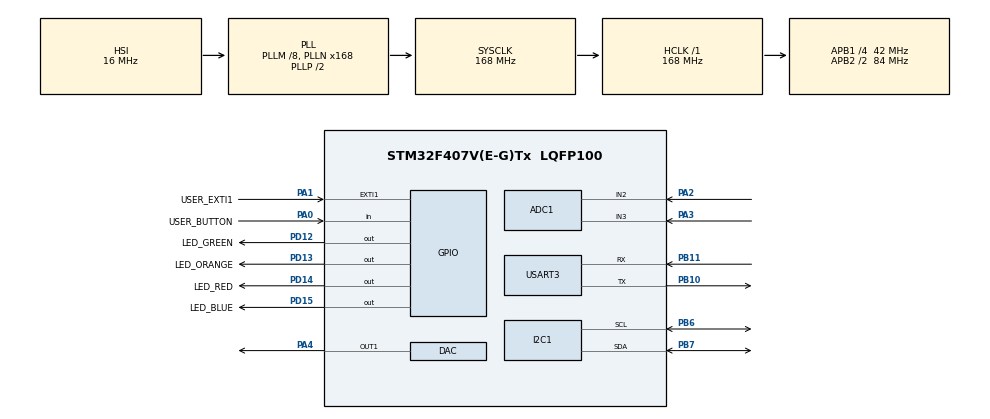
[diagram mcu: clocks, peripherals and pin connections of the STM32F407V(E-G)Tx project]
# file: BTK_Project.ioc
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ADC1.Channel-0\#ChannelRegularConversion=ADC_CHANNEL_2
ADC1.Channel-1\#ChannelRegularConversion=ADC_CHANNEL_3
ADC1.Channel-2\#ChannelRegularConversion=ADC_CHANNEL_TEMPSENSOR
ADC1.Channel-3\#ChannelRegularConversion=ADC_CHANNEL_VREFINT
ADC1.Channel-4\#ChannelRegularConversion=ADC_CHANNEL_VBAT
ADC1.ContinuousConvMode=ENABLE
ADC1.DMAContinuousRequests=ENABLE
ADC1.EOCSelection=ADC_EOC_SEQ_CONV
ADC1.NbrOfConversion=5
ADC1.NbrOfConversionFlag=1
ADC1.Rank-0\#ChannelRegularConversion=1
ADC1.Rank-1\#ChannelRegularConversion=2
ADC1.Rank-2\#ChannelRegularConversion=3
ADC1.Rank-3\#ChannelRegularConversion=4
ADC1.Rank-4\#ChannelRegularConversion=5
ADC1.SamplingTime-0\#ChannelRegularConversion=ADC_SAMPLETIME_56CYCLES
ADC1.SamplingTime-1\#ChannelRegularConversion=ADC_SAMPLETIME_56CYCLES
ADC1.SamplingTime-2\#ChannelRegularConversion=ADC_SAMPLETIME_480CYCLES
ADC1.SamplingTime-3\#ChannelRegularConversion=ADC_SAMPLETIME_480CYCLES
ADC1.SamplingTime-4\#ChannelRegularConversion=ADC_SAMPLETIME_480CYCLES
ADC1.ScanConvMode=ENABLE
ADC1.master=1
Dma.ADC1.0.Direction=DMA_PERIPH_TO_MEMORY
Dma.ADC1.0.FIFOMode=DMA_FIFOMODE_DISABLE
Dma.ADC1.0.Instance=DMA2_Stream0
Dma.ADC1.0.MemDataAlignment=DMA_MDATAALIGN_HALFWORD
Dma.ADC1.0.MemInc=DMA_MINC_ENABLE
Dma.ADC1.0.Mode=DMA_CIRCULAR
Dma.ADC1.0.PeriphDataAlignment=DMA_PDATAALIGN_HALFWORD
Dma.ADC1.0.PeriphInc=DMA_PINC_DISABLE
Dma.ADC1.0.Priority=DMA_PRIORITY_LOW
Dma.Request0=ADC1
Mcu.Family=STM32F4
Mcu.Name=STM32F407V(E-G)Tx
Mcu.Package=LQFP100
NVIC.DMA2_Stream0_IRQn=true\:0\:0\:false\:false\:true\:false\:true\:true
NVIC.EXTI1_IRQn=true\:0\:0\:false\:false\:true\:true\:true\:true
NVIC.PriorityGroup=NVIC_PRIORITYGROUP_4
NVIC.TIM8_TRG_COM_TIM14_IRQn=true\:0\:0\:false\:false\:true\:true\:true\:true
NVIC.USART3_IRQn=true\:0\:0\:false\:false\:true\:true\:true\:true
PA0-WKUP.GPIO_Label=USER_BUTTON
PA0-WKUP.Signal=GPIO_Input
PA1.GPIO_Label=USER_EXTI1
PA1.Signal=GPXTI1
PA2.Signal=ADCx_IN2
PA3.Signal=ADCx_IN3
PA4.Signal=COMP_DAC1_group
PB10.Mode=Asynchronous
PB10.Signal=USART3_TX
PB11.Mode=Asynchronous
PB11.Signal=USART3_RX
PB6.Mode=I2C
PB6.Signal=I2C1_SCL
PB7.Mode=I2C
PB7.Signal=I2C1_SDA
PD12.GPIO_Label=LED_GREEN
PD12.Signal=GPIO_Output
PD13.GPIO_Label=LED_ORANGE
PD13.Signal=GPIO_Output
PD14.GPIO_Label=LED_RED
PD14.Signal=GPIO_Output
PD15.GPIO_Label=LED_BLUE
PD15.Signal=GPIO_Output
PH0-OSC_IN.Mode=HSE-External-Oscillator
PH0-OSC_IN.Signal=RCC_OSC_IN
PH1-OSC_OUT.Mode=HSE-External-Oscillator
PH1-OSC_OUT.Signal=RCC_OSC_OUT
ProjectManager.HeapSize=0x200
ProjectManager.StackSize=0x400
ProjectManager.TargetToolchain=STM32CubeIDE
RCC.48MHZClocksFreq_Value=84000000
RCC.AHBFreq_Value=168000000
RCC.APB1CLKDivider=RCC_HCLK_DIV4
RCC.APB1Freq_Value=42000000
RCC.APB1TimFreq_Value=84000000
RCC.APB2CLKDivider=RCC_HCLK_DIV2
RCC.APB2Freq_Value=84000000
RCC.APB2TimFreq_Value=168000000
RCC.CortexFreq_Value=168000000
RCC.HCLKFreq_Value=168000000
RCC.HSE_VALUE=8000000
RCC.HSI_VALUE=16000000
RCC.LSE_VALUE=32768
RCC.PLLM=8
RCC.PLLN=168
RCC.SYSCLKFreq_VALUE=168000000
RCC.SYSCLKSource=RCC_SYSCLKSOURCE_PLLCLK
RCC.VCOOutputFreq_Value=336000000
SH.ADCx_IN2.0=ADC1_IN2,IN2
SH.ADCx_IN3.0=ADC1_IN3,IN3
SH.COMP_DAC1_group.0=DAC_OUT1,DAC_OUT1
TIM14.Prescaler=83
USART3.VirtualMode=VM_ASYNC
VP_ADC1_TempSens_Input.Mode=IN-TempSens
VP_ADC1_Vbat_Input.Mode=IN-Vbat
VP_ADC1_Vref_Input.Mode=IN-Vrefint
VP_TIM14_VS_ClockSourceINT.Mode=Enable_Timer
board=custom

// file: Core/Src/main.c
/* USER CODE BEGIN Header */
/**
  ******************************************************************************
  * @file           : main.c
  * @brief          : Main program body
  ******************************************************************************
  * @attention
  *
  * Copyright (c) 2026 STMicroelectronics.
  * All rights reserved.
  *
  * This software is licensed under terms that can be found in the LICENSE file
  * in the root directory of this software component.
  * If no LICENSE file comes with this software, it is provided AS-IS.
  *
  ******************************************************************************
  */
/* USER CODE END Header */
#include "main.h"

/* USER CODE BEGIN Includes */
#include "io_driver.h"
#include "adc_driver.h"
#include "uart_ex.h"
#include "lcd_2x16_driver.h"
#include "software_timer.h"
/* USER CODE END Includes */

ADC_HandleTypeDef hadc1;
DMA_HandleTypeDef hdma_adc1;

DAC_HandleTypeDef hdac;

I2C_HandleTypeDef hi2c1;

TIM_HandleTypeDef htim14;

UART_HandleTypeDef huart3;

/* USER CODE BEGIN PV */

IO_Info_t ioInfo;
ADC_Info_t adcInfo;

UART_Ex_t uart3;
Circular_Buffer_t uartCbIn;
Circular_Buffer_t uartCbOut;

char rxBuffer[128];

LCD_t lcd =
{
		.hi2c         = &hi2c1,
		.i2c_addr     = LCD_I2C_DEVICE_ADDRESS,
		.rows         = 2,
		.colums       = 16,
		.backlight    = true
};

STimer_t sTimer_200ms;

/* USER CODE END PV */

void SystemClock_Config(void);
static void MX_GPIO_Init(void);
static void MX_DMA_Init(void);
static void MX_ADC1_Init(void);
static void MX_DAC_Init(void);
static void MX_USART3_UART_Init(void);
static void MX_I2C1_Init(void);
static void MX_TIM14_Init(void);

int main(void)
{

  /* MCU Configuration--------------------------------------------------------*/

  /* Reset of all peripherals, Initializes the Flash interface and the Systick. */
  HAL_Init();

  /* Configure the system clock */
  SystemClock_Config();

  /* Initialize all configured peripherals */
  MX_GPIO_Init();
  MX_DMA_Init();
  MX_ADC1_Init();
  MX_DAC_Init();
  MX_USART3_UART_Init();
  MX_I2C1_Init();
  MX_TIM14_Init();
  /* USER CODE BEGIN 2 */

  Software_Timer_Init(&htim14);
  IO_Initialization(&ioInfo);
  UARTx_Initialization(&uart3, &huart3, &uartCbIn, &uartCbOut);

  LCD_Initialization(&lcd);
  LCD_Clear(&lcd);
  LCD_Set_Cursor(&lcd, 0, 0);
  LCD_Send_String(&lcd, "BTK PROJECT!");
  HAL_Delay(1000);
  LCD_Set_Cursor(&lcd, 1, 0);
  LCD_Send_String(&lcd, "ADC Init");
  HAL_Delay(1000);

  ADC_Initializaiton(&adcInfo, &hadc1);
  if(adcInfo.adcErrorStatus == ADC_Init_Start_Error)
  {
	  UARTx_Printf(&uart3, "ADC Initialization Error! \r\n");
	  LCD_Clear(&lcd);
	  LCD_Set_Cursor(&lcd, 0, 0);
	  LCD_Send_String(&lcd, "BTK PROJECT!");
	  HAL_Delay(1000);
	  LCD_Set_Cursor(&lcd, 1, 0);
	  LCD_Send_String(&lcd, "ADC Init Error");
	  HAL_Delay(1000);
  }
  else
  {
	  UARTx_Printf(&uart3, "ADC Initialization Succesfully! \r\n");
	  UARTx_Printf(&uart3, "ADC Initialization Error! \r\n");
	  LCD_Clear(&lcd);
	  LCD_Set_Cursor(&lcd, 0, 0);
	  LCD_Send_String(&lcd, "BTK PROJECT!");
	  HAL_Delay(1000);
	  LCD_Set_Cursor(&lcd, 1, 0);
	  LCD_Send_String(&lcd, "ADC Init Ok");
	  HAL_Delay(1000);
  }

  if(HAL_DAC_Start(&hdac, DAC_CHANNEL_1) == HAL_OK)
  {
	  UARTx_Printf(&uart3, "DAC Started! \r\n");
	  UARTx_Printf(&uart3, "ADC Initialization Error! \r\n");
	  LCD_Clear(&lcd);
	  LCD_Set_Cursor(&lcd, 0, 0);
	  LCD_Send_String(&lcd, "BTK PROJECT!");
	  HAL_Delay(1000);
	  LCD_Set_Cursor(&lcd, 1, 0);
	  LCD_Send_String(&lcd, "DAC Init Ok");
	  HAL_Delay(1000);
  }
  else
  {
	  UARTx_Printf(&uart3, "DAC initialization failed! \r\n");
	  LCD_Clear(&lcd);
	  LCD_Set_Cursor(&lcd, 0, 0);
	  LCD_Send_String(&lcd, "BTK PROJECT!");
	  HAL_Delay(1000);
	  LCD_Set_Cursor(&lcd, 1, 0);
	  LCD_Send_String(&lcd, "DAC Init Error");
	  HAL_Delay(1000);
  }

  Software_Timer_Set_Time(&sTimer_200ms, 200);

  /* USER CODE END 2 */

  /* Infinite loop */
  while (1)
  {

    /* USER CODE BEGIN 3 */
	  IO_Status_Control(&ioInfo);
	  ADC_DMA_Conversion(&adcInfo);
	  HAL_DAC_SetValue(&hdac, DAC_CHANNEL_1, DAC_ALIGN_12B_R, adcInfo.adcAverageData[ADC_Channel_3]);

	  if(UARTx_ReadLine(&uart3, rxBuffer, sizeof(rxBuffer)))
	  {
		  if(strstr(rxBuffer, "LED1=ON") != NULL)
		  {
			  UARTx_Printf(&uart3, "Green Led turn ON\r\n");
			  ioInfo.outputsInfo.ledGreen.pinState = GPIO_PIN_SET;
		  }
		  else if(strstr(rxBuffer, "LED1=OFF") != NULL)
		  {
			  UARTx_Printf(&uart3, "Green Led turn OFF\r\n");
			  ioInfo.outputsInfo.ledGreen.pinState = GPIO_PIN_RESET;
		  }
		  else
		  {
			  // TODO: Farklı mesajlar için geliştirme alanı
		  }

		  if(strstr(rxBuffer, "LED2=") != NULL)
		  {
			  char *equalPtr = strchr(rxBuffer, '=');
			  if(equalPtr != NULL)
			  {
				  uint8_t val = (uint8_t)atoi(equalPtr + 1);

				  if(val == 1)
				  {
					  UARTx_Printf(&uart3, "Orange Led turn ON\r\n");
					  ioInfo.outputsInfo.ledOrange.pinState = GPIO_PIN_SET;
				  }
				  else if(val == 0)
				  {
					  UARTx_Printf(&uart3, "Orange Led turn OFF\r\n");
					  ioInfo.outputsInfo.ledOrange.pinState = GPIO_PIN_RESET;
				  }
				  else
				  {
					  UARTx_Printf(&uart3, "0 yada 1 degerini giriniz! \r\n");
				  }
			  }
		  }
	  }

	  if(Software_Timer_Check_Elapsed_Time(&sTimer_200ms))
	  {
		  LCD_Clear(&lcd);
		  LCD_Set_Cursor(&lcd, 0, 0);
		  LCD_Send_String(&lcd, "BTK PROJECT!");
		  LCD_Set_Cursor(&lcd, 1, 0);
		  LCD_Printf(&lcd, "PT1:%d T:%.1fC", adcInfo.pot1Percentage, adcInfo.temperature);

		  Software_Timer_Set_Time(&sTimer_200ms, 200);
	  }

  }
  /* USER CODE END 3 */
}

void SystemClock_Config(void)
{
  RCC_OscInitTypeDef RCC_OscInitStruct = {0};
  RCC_ClkInitTypeDef RCC_ClkInitStruct = {0};

  /** Configure the main internal regulator output voltage
  */
  __HAL_RCC_PWR_CLK_ENABLE();
  __HAL_PWR_VOLTAGESCALING_CONFIG(PWR_REGULATOR_VOLTAGE_SCALE1);

  /** Initializes the RCC Oscillators according to the specified parameters
  * in the RCC_OscInitTypeDef structure.
  */
  RCC_OscInitStruct.OscillatorType = RCC_OSCILLATORTYPE_HSI;
  RCC_OscInitStruct.HSIState = RCC_HSI_ON;
  RCC_OscInitStruct.HSICalibrationValue = RCC_HSICALIBRATION_DEFAULT;
  RCC_OscInitStruct.PLL.PLLState = RCC_PLL_ON;
  RCC_OscInitStruct.PLL.PLLSource = RCC_PLLSOURCE_HSI;
  RCC_OscInitStruct.PLL.PLLM = 8;
  RCC_OscInitStruct.PLL.PLLN = 168;
  RCC_OscInitStruct.PLL.PLLP = RCC_PLLP_DIV2;
  RCC_OscInitStruct.PLL.PLLQ = 4;
  if (HAL_RCC_OscConfig(&RCC_OscInitStruct) != HAL_OK)
  {
    Error_Handler();
  }

  /** Initializes the CPU, AHB and APB buses clocks
  */
  RCC_ClkInitStruct.ClockType = RCC_CLOCKTYPE_HCLK|RCC_CLOCKTYPE_SYSCLK
                              |RCC_CLOCKTYPE_PCLK1|RCC_CLOCKTYPE_PCLK2;
  RCC_ClkInitStruct.SYSCLKSource = RCC_SYSCLKSOURCE_PLLCLK;
  RCC_ClkInitStruct.AHBCLKDivider = RCC_SYSCLK_DIV1;
  RCC_ClkInitStruct.APB1CLKDivider = RCC_HCLK_DIV4;
  RCC_ClkInitStruct.APB2CLKDivider = RCC_HCLK_DIV2;

  if (HAL_RCC_ClockConfig(&RCC_ClkInitStruct, FLASH_LATENCY_5) != HAL_OK)
  {
    Error_Handler();
  }
}

static void MX_ADC1_Init(void)
{

  ADC_ChannelConfTypeDef sConfig = {0};

  /** Configure the global features of the ADC (Clock, Resolution, Data Alignment and number of conversion)
  */
  hadc1.Instance = ADC1;
  hadc1.Init.ClockPrescaler = ADC_CLOCK_SYNC_PCLK_DIV4;
  hadc1.Init.Resolution = ADC_RESOLUTION_12B;
  hadc1.Init.ScanConvMode = ENABLE;
  hadc1.Init.ContinuousConvMode = ENABLE;
  hadc1.Init.DiscontinuousConvMode = DISABLE;
  hadc1.Init.ExternalTrigConvEdge = ADC_EXTERNALTRIGCONVEDGE_NONE;
  hadc1.Init.ExternalTrigConv = ADC_SOFTWARE_START;
  hadc1.Init.DataAlign = ADC_DATAALIGN_RIGHT;
  hadc1.Init.NbrOfConversion = 5;
  hadc1.Init.DMAContinuousRequests = ENABLE;
  hadc1.Init.EOCSelection = ADC_EOC_SEQ_CONV;
  if (HAL_ADC_Init(&hadc1) != HAL_OK)
  {
    Error_Handler();
  }

  /** Configure for the selected ADC regular channel its corresponding rank in the sequencer and its sample time.
  */
  sConfig.Channel = ADC_CHANNEL_2;
  sConfig.Rank = 1;
  sConfig.SamplingTime = ADC_SAMPLETIME_56CYCLES;
  if (HAL_ADC_ConfigChannel(&hadc1, &sConfig) != HAL_OK)
  {
    Error_Handler();
  }

  /** Configure for the selected ADC regular channel its corresponding rank in the sequencer and its sample time.
  */
  sConfig.Channel = ADC_CHANNEL_3;
  sConfig.Rank = 2;
  if (HAL_ADC_ConfigChannel(&hadc1, &sConfig) != HAL_OK)
  {
    Error_Handler();
  }

  /** Configure for the selected ADC regular channel its corresponding rank in the sequencer and its sample time.
  */
  sConfig.Channel = ADC_CHANNEL_TEMPSENSOR;
  sConfig.Rank = 3;
  sConfig.SamplingTime = ADC_SAMPLETIME_480CYCLES;
  if (HAL_ADC_ConfigChannel(&hadc1, &sConfig) != HAL_OK)
  {
    Error_Handler();
  }

  /** Configure for the selected ADC regular channel its corresponding rank in the sequencer and its sample time.
  */
  sConfig.Channel = ADC_CHANNEL_VREFINT;
  sConfig.Rank = 4;
  if (HAL_ADC_ConfigChannel(&hadc1, &sConfig) != HAL_OK)
  {
    Error_Handler();
  }

  /** Configure for the selected ADC regular channel its corresponding rank in the sequencer and its sample time.
  */
  sConfig.Channel = ADC_CHANNEL_VBAT;
  sConfig.Rank = 5;
  if (HAL_ADC_ConfigChannel(&hadc1, &sConfig) != HAL_OK)
  {
    Error_Handler();
  }

}

static void MX_DAC_Init(void)
{

  DAC_ChannelConfTypeDef sConfig = {0};

  /** DAC Initialization
  */
  hdac.Instance = DAC;
  if (HAL_DAC_Init(&hdac) != HAL_OK)
  {
    Error_Handler();
  }

  /** DAC channel OUT1 config
  */
  sConfig.DAC_Trigger = DAC_TRIGGER_NONE;
  sConfig.DAC_OutputBuffer = DAC_OUTPUTBUFFER_ENABLE;
  if (HAL_DAC_ConfigChannel(&hdac, &sConfig, DAC_CHANNEL_1) != HAL_OK)
  {
    Error_Handler();
  }

}

static void MX_I2C1_Init(void)
{

  hi2c1.Instance = I2C1;
  hi2c1.Init.ClockSpeed = 100000;
  hi2c1.Init.DutyCycle = I2C_DUTYCYCLE_2;
  hi2c1.Init.OwnAddress1 = 0;
  hi2c1.Init.AddressingMode = I2C_ADDRESSINGMODE_7BIT;
  hi2c1.Init.DualAddressMode = I2C_DUALADDRESS_DISABLE;
  hi2c1.Init.OwnAddress2 = 0;
  hi2c1.Init.GeneralCallMode = I2C_GENERALCALL_DISABLE;
  hi2c1.Init.NoStretchMode = I2C_NOSTRETCH_DISABLE;
  if (HAL_I2C_Init(&hi2c1) != HAL_OK)
  {
    Error_Handler();
  }

}

static void MX_TIM14_Init(void)
{

  htim14.Instance = TIM14;
  htim14.Init.Prescaler = 83;
  htim14.Init.CounterMode = TIM_COUNTERMODE_UP;
  htim14.Init.Period = 65535;
  htim14.Init.ClockDivision = TIM_CLOCKDIVISION_DIV1;
  htim14.Init.AutoReloadPreload = TIM_AUTORELOAD_PRELOAD_DISABLE;
  if (HAL_TIM_Base_Init(&htim14) != HAL_OK)
  {
    Error_Handler();
  }

}

static void MX_USART3_UART_Init(void)
{

  huart3.Instance = USART3;
  huart3.Init.BaudRate = 115200;
  huart3.Init.WordLength = UART_WORDLENGTH_8B;
  huart3.Init.StopBits = UART_STOPBITS_1;
  huart3.Init.Parity = UART_PARITY_NONE;
  huart3.Init.Mode = UART_MODE_TX_RX;
  huart3.Init.HwFlowCtl = UART_HWCONTROL_NONE;
  huart3.Init.OverSampling = UART_OVERSAMPLING_16;
  if (HAL_UART_Init(&huart3) != HAL_OK)
  {
    Error_Handler();
  }

}

static void MX_DMA_Init(void)
{

  /* DMA controller clock enable */
  __HAL_RCC_DMA2_CLK_ENABLE();

  /* DMA interrupt init */
  /* DMA2_Stream0_IRQn interrupt configuration */
  HAL_NVIC_SetPriority(DMA2_Stream0_IRQn, 0, 0);
  HAL_NVIC_EnableIRQ(DMA2_Stream0_IRQn);

}

static void MX_GPIO_Init(void)
{
  GPIO_InitTypeDef GPIO_InitStruct = {0};

  /* GPIO Ports Clock Enable */
  __HAL_RCC_GPIOH_CLK_ENABLE();
  __HAL_RCC_GPIOA_CLK_ENABLE();
  __HAL_RCC_GPIOB_CLK_ENABLE();
  __HAL_RCC_GPIOD_CLK_ENABLE();

  /*Configure GPIO pin Output Level */
  HAL_GPIO_WritePin(GPIOD, LED_GREEN_Pin|LED_ORANGE_Pin|LED_RED_Pin|LED_BLUE_Pin, GPIO_PIN_RESET);

  /*Configure GPIO pin : USER_BUTTON_Pin */
  GPIO_InitStruct.Pin = USER_BUTTON_Pin;
  GPIO_InitStruct.Mode = GPIO_MODE_INPUT;
  GPIO_InitStruct.Pull = GPIO_NOPULL;
  HAL_GPIO_Init(USER_BUTTON_GPIO_Port, &GPIO_InitStruct);

  /*Configure GPIO pin : USER_EXTI1_Pin */
  GPIO_InitStruct.Pin = USER_EXTI1_Pin;
  GPIO_InitStruct.Mode = GPIO_MODE_IT_RISING;
  GPIO_InitStruct.Pull = GPIO_NOPULL;
  HAL_GPIO_Init(USER_EXTI1_GPIO_Port, &GPIO_InitStruct);

  /*Configure GPIO pins : LED_GREEN_Pin LED_ORANGE_Pin LED_RED_Pin LED_BLUE_Pin */
  GPIO_InitStruct.Pin = LED_GREEN_Pin|LED_ORANGE_Pin|LED_RED_Pin|LED_BLUE_Pin;
  GPIO_InitStruct.Mode = GPIO_MODE_OUTPUT_PP;
  GPIO_InitStruct.Pull = GPIO_NOPULL;
  GPIO_InitStruct.Speed = GPIO_SPEED_FREQ_LOW;
  HAL_GPIO_Init(GPIOD, &GPIO_InitStruct);

  /* EXTI interrupt init*/
  HAL_NVIC_SetPriority(EXTI1_IRQn, 0, 0);
  HAL_NVIC_EnableIRQ(EXTI1_IRQn);

}

void Error_Handler(void)
{
  __disable_irq();
  while (1)
  {
  }
}
